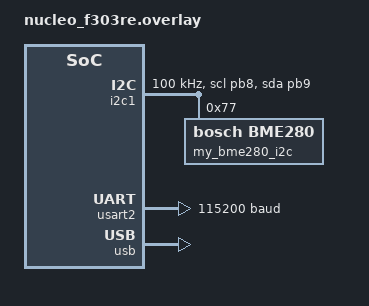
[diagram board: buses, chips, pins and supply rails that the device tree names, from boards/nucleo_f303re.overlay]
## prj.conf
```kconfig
# General
CONFIG_LOG=y
CONFIG_PRINTK=y

# Enable the I2C, PINCTRL and the sensor drivers
CONFIG_I2C=y  
CONFIG_PINCTRL=y 
CONFIG_SENSOR=y
CONFIG_BME280=y

# Enable the STM32 console and USART dependencies
CONFIG_SERIAL=y
CONFIG_UART_CONSOLE=y
CONFIG_LOG=y
CONFIG_PRINTK=y

#Enable the CDC
CONFIG_USB_DEVICE_STACK=y
CONFIG_USB_CDC_ACM=y
CONFIG_UART_INTERRUPT_DRIVEN=y
```

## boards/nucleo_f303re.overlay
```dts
/ {

    aliases {
        my-temp = &my_bme280_i2c;   // Alias for BME280 temperature sensor
    };
};


// The BME280 sensor is defined as a child of the I2C1 bus with its compatible and I2C address
&i2c1 {
    status = "okay";
    pinctrl-0 = <&i2c1_scl_pb8 &i2c1_sda_pb9>;
    pinctrl-names = "default";
    clock-frequency = <I2C_BITRATE_STANDARD>;

    /* The sensor is a child of the bus */
    my_bme280_i2c: bme280@77 {
        compatible = "bosch,bme280";
        reg = <0x77>;
        status = "okay";
    };
};

// USART2 is enabled for serial communication with the host computer for debugging and telemetry output
&usart2 {
    status = "okay";
    current-speed = <115200>;
};

&usb {
	status = "okay";
	cdc_acm_uart0 {
		compatible = "zephyr,cdc-acm-uart";
	};
};
```

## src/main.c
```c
#include <zephyr/kernel.h>
// Header for use of I2C bus
#include <zephyr/drivers/i2c.h>
#include <zephyr/sys/printk.h>
#include <zephyr/device.h> // Device configurations
#include <zephyr/drivers/sensor.h> // BME280 implements this API

// Retrieve the defined devices from the devicetree //

static const struct device *const bme280 = DEVICE_DT_GET(DT_ALIAS(my_temp)); // Retrieve the Sensor device

int main(void){

    // Declare the varaibles required for the bme280 sensor
    int ret;
    struct sensor_value temp;
    struct sensor_value hum;
    uint32_t timestamp = 0; 

    /* CHECK IF DEVICES ARE READY */

    if(!device_is_ready(bme280)){
            printk("Device %s is not ready.\n", bme280->name);
            return 0;
        }
    
    while(1){

        // Obtain the sensor readings
        ret = sensor_sample_fetch(bme280);
        if(ret < 0){
            printk("Sample Fetch Error: %d\n", ret);
            continue;
        }

        ret = sensor_channel_get(bme280, SENSOR_CHAN_AMBIENT_TEMP, &temp);
        if(ret < 0){
            printk("Channel Get Error: %d\n", ret);
            continue;
        }

        ret = sensor_channel_get(bme280, SENSOR_CHAN_HUMIDITY, &hum);
        if(ret<0)
        {
            printk("Channel Get Error: %d\n", ret);
            continue;
        }

        timestamp = k_uptime_get_32();
        // Protocol format: TEMP:XX.XX,HUM:XX.XX,TS:XXXX\n
        printk("TEMP:%d.%02d,HUM:%d.%02d,TS:%u\n", 
                temp.val1, (temp.val2 / 10000), 
                hum.val1, (hum.val2 / 10000), 
                timestamp);
        
        k_msleep(1000);
    }
    
    return 0;
}
        
```
